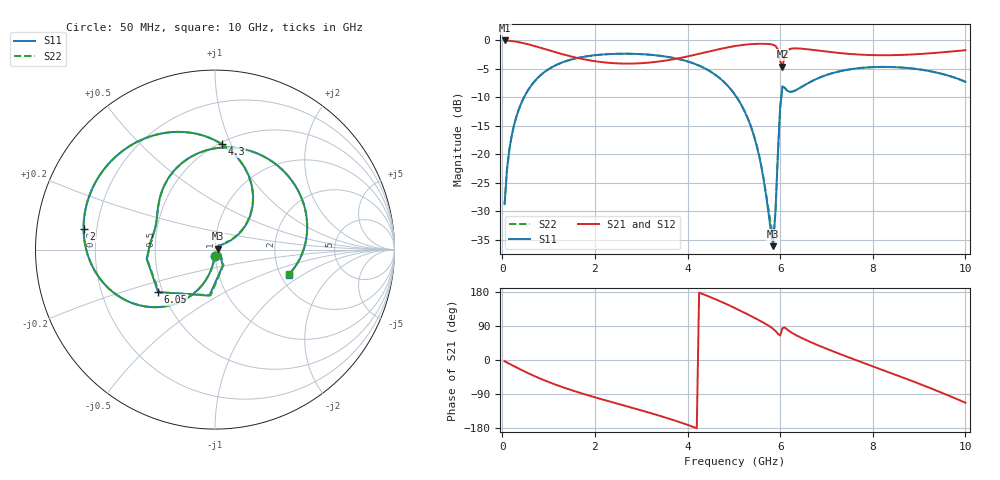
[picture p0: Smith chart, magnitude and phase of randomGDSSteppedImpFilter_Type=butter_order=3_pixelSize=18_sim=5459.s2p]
! freq	dB(S11)	phase(S11)	dB(S12)	phase(S12)
!  dB(S21)	phase(S21)	dB(S22)	phase(S22)
!S-par simulation data
#  GHz  S  DB  R 50
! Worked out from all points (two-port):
!   200 points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, 50 MHz to 10 GHz, reference 50 ohm
!   highest |S21| = -0.01 dB at 50 MHz (marker M1); lowest = -4.6 dB at 6.05 GHz (marker M2)
!   |S21| within 3 dB of the highest: 3.886 GHz to 5.985 GHz (2.099 GHz wide, 42.5 % of centre); 6.089 GHz to end of sweep (the widest 2 of 3)
!   lowest |S11| = -36.1 dB at 5.85 GHz (marker M3), VSWR 1.03, Z = 51.5 + j0.529 ohm
!   |S11| at or under -10 dB: start of sweep to 469.1 MHz; 5.062 GHz to 6.024 GHz (961.5 MHz wide, 17.3 % of centre)
!   |S22| runs from -34.7 to -2.3 dB; largest |S21 - S12| = 0
!   S11 on the Smith chart (normalised r, x): 50 MHz: 0.99, -0.07; 2 GHz: 0.15, +0.08; 4.3 GHz: 0.52, +0.93; 6.05 GHz: 0.47, -0.26; 10 GHz: 2.21, -0.76
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0.05  -28.74 -93.4  -0.01 -3.3  -0.01 -3.3  -28.74 -93.4
0.1  -22.75 -96.9  -0.03 -6.6  -0.03 -6.6  -22.75 -96.9
0.2  -16.86 -103.6  -0.11 -13.0  -0.11 -13.0  -16.86 -103.6
0.5  -9.51 -122.0  -0.56 -31.4  -0.56 -31.4  -9.51 -122.0
1  -5.05 -148.6  -1.72 -58.0  -1.72 -58.0  -5.05 -148.6
1.75  -2.88 -179.9  -3.30 -89.4  -3.30 -89.4  -2.89 -179.9
2  -2.60 171.0  -3.65 -98.5  -3.65 -98.5  -2.60 171.0
3.4  -2.69 122.6  -3.69 -147.2  -3.69 -147.2  -2.69 122.6
4.3  -4.61 86.2  -2.26 175.4  -2.26 175.4  -4.61 86.3
5.05  -9.85 49.3  -0.96 135.5  -0.96 135.5  -9.84 49.7
5.5  -18.69 30.7  -0.60 107.8  -0.60 107.8  -18.64 31.9
5.85  -36.11 19.2  -0.77 82.0  -0.77 82.0  -34.74 30.5
5.9  -29.81 -37.2  -0.97 76.6  -0.97 76.6  -30.06 -28.3
6  -11.73 -97.0  -3.62 64.4  -3.62 64.4  -11.86 -95.5
6.05  -8.06 -143.4  -4.58 84.1  -4.58 84.1  -8.13 -142.6
6.1  -8.31 -172.4  -2.56 85.8  -2.56 85.8  -8.35 -172.0
6.2  -9.02 165.6  -1.54 76.1  -1.54 76.1  -9.03 165.6
6.7  -7.09 131.7  -1.66 45.0  -1.66 45.0  -7.09 131.6
7.45  -5.15 96.4  -2.34 8.3  -2.34 8.3  -5.15 96.3
8.35  -4.66 57.0  -2.60 -32.5  -2.60 -32.5  -4.66 56.9
9.25  -5.42 16.8  -2.26 -74.5  -2.26 -74.5  -5.42 16.9
10  -7.27 -18.9  -1.72 -112.7  -1.72 -112.7  -7.26 -18.6
